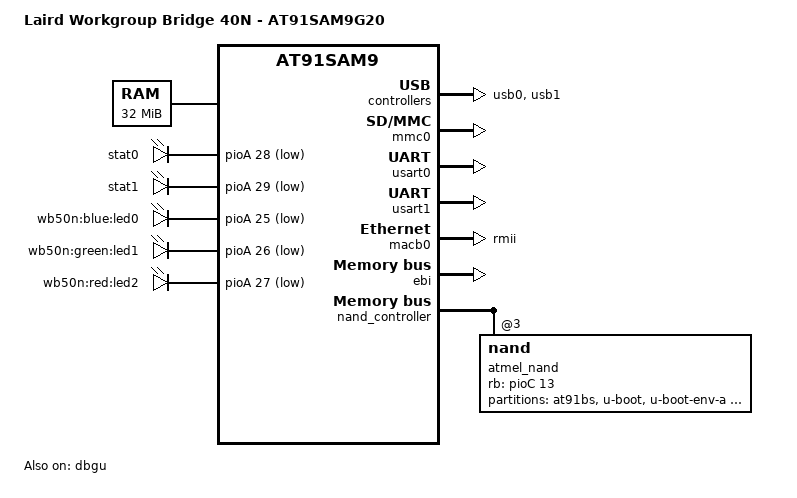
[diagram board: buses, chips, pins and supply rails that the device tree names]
// SPDX-License-Identifier: GPL-2.0
/*
 * at91-wb40n.dts - Device Tree file for WB40N CPU module
 *
 *  Copyright (C) 2020 Laird Connectivity
 *
 */

/dts-v1/;

#include "at91sam9g20.dtsi"

/ {
	model = "Laird Workgroup Bridge 40N - AT91SAM9G20";
	compatible = "laird,wb40n", "atmel,at91sam9g20", "atmel,at91sam9";

	chosen {
		stdout-path = "serial0:115200n8";
	};

	memory@20000000 {
		reg = <0x20000000 0x2000000>;
	};

	clocks {
		slow_xtal {
			clock-frequency = <32768>;
		};

		main_xtal {
			clock-frequency = <18432000>;
		};
	};

	ahb {
		apb {
			pinctrl@fffff400 {
				board {
					pinctrl_mmc0_cd: mmc0_cd {
						atmel,pins =
							<AT91_PIOC 5 AT91_PERIPH_GPIO AT91_PINCTRL_PULL_UP_DEGLITCH>; /* PC5 GPIO with pullup deglitch */
					};

					pinctrl_usba_vbus: usba_vbus {
						atmel,pins =
							<AT91_PIOC 21 AT91_PERIPH_GPIO AT91_PINCTRL_DEGLITCH>; /* PC21 GPIO with deglitch */
					};

					pinctrl_usb_vbus: usb_vbus {
						atmel,pins =
							<AT91_PIOC 0 AT91_PERIPH_GPIO AT91_PINCTRL_NONE>,
							<AT91_PIOC 1 AT91_PERIPH_GPIO AT91_PINCTRL_DEGLITCH>;
					};

					pinctrl_ssd40: ssd40 {
						atmel,pins =
							<AT91_PIOB 13 AT91_PERIPH_GPIO AT91_PINCTRL_PULL_UP>,
							<AT91_PIOB 31 AT91_PERIPH_GPIO AT91_PINCTRL_PULL_UP>;
					};

					pinctrl_leds: leds {
						atmel,pins =
							<AT91_PIOA 25 AT91_PERIPH_GPIO AT91_PINCTRL_NONE>,
							<AT91_PIOA 26 AT91_PERIPH_GPIO AT91_PINCTRL_NONE>,
							<AT91_PIOA 27 AT91_PERIPH_GPIO AT91_PINCTRL_NONE>,
							<AT91_PIOA 28 AT91_PERIPH_GPIO AT91_PINCTRL_NONE>,
							<AT91_PIOA 29 AT91_PERIPH_GPIO AT91_PINCTRL_NONE>;
					};
				};
			};

			rtc@fffffd20 {
				atmel,rtt-rtc-time-reg = <&gpbr 0x0>;
				status = "okay";
			};

			watchdog@fffffd40 {
				atmel,idle-halt;
				status = "okay";
			};

			gpbr: syscon@fffffd50 {
				status = "okay";
			};
		};
	};

	leds {
		pinctrl-names = "default";
		pinctrl-0 = <&pinctrl_leds>;

		compatible = "gpio-leds";

		stat0 {
			label = "stat0";
			gpios = <&pioA 28 GPIO_ACTIVE_LOW>;
			default-state = "off";
		};

		stat1 {
			label = "stat1";
			gpios = <&pioA 29 GPIO_ACTIVE_LOW>;
			default-state = "off";
		};

		led0 {
			label = "wb50n:blue:led0";
			gpios = <&pioA 25 GPIO_ACTIVE_LOW>;
			default-state = "off";
		};

		led1 {
			label = "wb50n:green:led1";
			gpios = <&pioA 26 GPIO_ACTIVE_LOW>;
			default-state = "off";
		};

		led2 {
			label = "wb50n:red:led2";
			gpios = <&pioA 27 GPIO_ACTIVE_LOW>;
			default-state = "off";
		};
	};
};

&tcb0 {
	timer@0 {
		compatible = "atmel,tcb-timer";
		reg = <0>, <1>;
	};

	timer@2 {
		compatible = "atmel,tcb-timer";
		reg = <2>;
	};
};

&usb0 {
	pinctrl-names = "default";
	pinctrl-0 = <&pinctrl_usb_vbus>;

	status = "okay";

	atmel,vbus-gpio = <&pioC 0 GPIO_ACTIVE_LOW>;
	atmel,oc-gpio = <&pioC 1 GPIO_ACTIVE_HIGH>;

	num-ports = <2>;
};

&usb1 {
	pinctrl-names = "default";
	pinctrl-0 = <&pinctrl_usba_vbus>;

	status = "okay";

	atmel,vbus-gpio = <&pioC 21 GPIO_ACTIVE_LOW>;
};

&mmc0 {
	pinctrl-names = "default";
	pinctrl-0 = <
		&pinctrl_mmc0_clk
		&pinctrl_mmc0_slot0_cmd_dat0 &pinctrl_mmc0_slot0_dat1_3
		&pinctrl_mmc0_slot1_cmd_dat0 &pinctrl_mmc0_slot1_dat1_3
		&pinctrl_mmc0_cd &pinctrl_ssd40>;

	status = "okay";

	slot@0 {
		reg = <0>;
		bus-width = <4>;
		cd-gpios = <&pioC 5 GPIO_ACTIVE_HIGH>;
	};

	slot@1 {
		reg = <1>;
		bus-width = <4>;
	};
};

&usart0 {
	pinctrl-names = "default";
	pinctrl-0 = <&pinctrl_usart0 &pinctrl_usart0_rts &pinctrl_usart0_cts
		 &pinctrl_usart0_dtr_dsr &pinctrl_usart0_dcd &pinctrl_usart0_ri>;

	status = "okay";
};

&usart1 {
	pinctrl-names = "default";
	pinctrl-0 =	<&pinctrl_usart1 &pinctrl_usart1_rts &pinctrl_usart1_cts>;

	status = "okay";
};

&macb0 {
	pinctrl-names = "default";
	pinctrl-0 =	<&pinctrl_macb_rmii>;

	phy-mode = "rmii";

	status = "okay";
};

&dbgu {
	status = "okay";
};

&ebi {
	pinctrl-names = "default";
	pinctrl-0 = <&pinctrl_nand_cs &pinctrl_nand_rb>;

	status = "okay";
};

&nand_controller {
	status = "okay";

	nand: nand@3 {
		reg = <0x3 0x0 0x800000>;

		rb-gpios = <&pioC 13 GPIO_ACTIVE_HIGH>;
		cs-gpios = <&pioC 14 GPIO_ACTIVE_HIGH>;

		nand-bus-width = <8>;
		nand-ecc-mode = "soft";
		label = "atmel_nand";

		partitions {
			compatible = "fixed-partitions";
			#address-cells = <1>;
			#size-cells = <1>;

			at91bootstrap@0 {
				label = "at91bs";
				reg = <0x0 0x20000>;
			};

			uboot@20000 {
				label = "u-boot";
				reg = <0x20000 0x80000>;
			};

			ubootenv@a0000 {
				label = "u-boot-env-a";
				reg = <0xa0000 0x20000>;
			};

			ubootenv@c0000 {
				label = "u-boot-env-b";
				reg = <0xc0000 0x20000>;
			};

			kernel-a@e0000 {
				label = "kernel-a";
				reg = <0xe0000 0x500000>;
			};

			kernel-b@5e0000 {
				label = "kernel-b";
				reg = <0x5e0000 0x500000>;
			};

			rootfs-a@ae0000 {
				label = "rootfs-a";
				reg = <0xae0000 0x3000000>;
			};

			rootfs-b@3ae0000 {
				label = "rootfs-b";
				reg = <0x3ae0000 0x3000000>;
			};

			user@6ae0000 {
				label = "user";
				reg = <0x6ae0000 0x14a0000>;
			};
		};
	};
};
